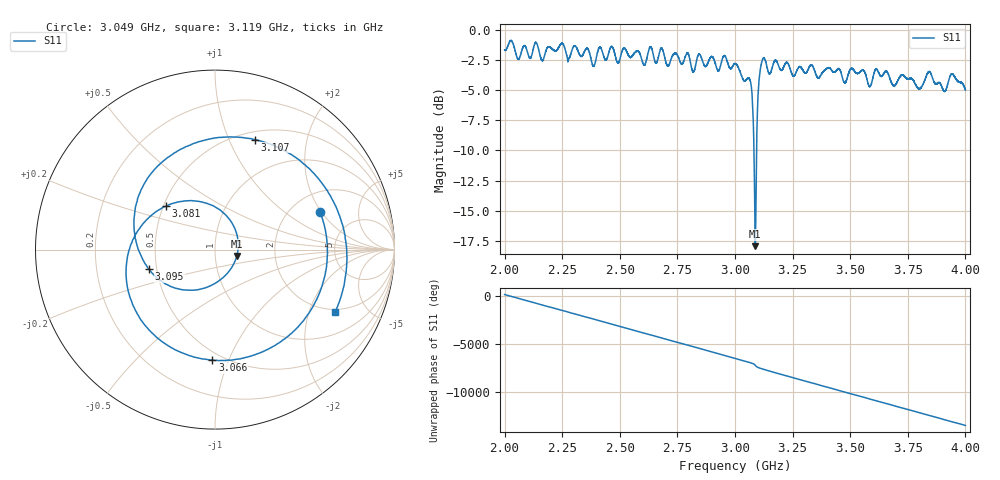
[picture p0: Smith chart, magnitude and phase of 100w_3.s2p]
!Agilent Technologies,E8362B,MY43021131,A.07.50.67
!Agilent E8362B: A.07.50.67
!Date: Thursday, March 14, 2024 13:55:11
!Correction: S11(Off)
!S21(Off)
!S12(Off)
!S22(Off)
!S2P File: Measurements: S11, S21, S12, S22:
# Hz S  RI  R 50
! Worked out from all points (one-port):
!   20001 points, 2 GHz to 4 GHz, reference 50 ohm
!   lowest |S11| = -17.9 dB at 3.088 GHz (marker M1), VSWR 1.29, Z = 63.7 - j4.5 ohm
!   |S11| at or under -10 dB: 3.082356 GHz to 3.09348 GHz (11.12 MHz wide, 0.36 % of centre)
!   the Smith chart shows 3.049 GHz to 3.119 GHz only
!   S11 on the Smith chart (normalised r, x): 3.049 GHz: 2.84, +1.94; 3.066 GHz: 0.44, -0.88; 3.081 GHz: 0.52, +0.29; 3.095 GHz: 0.45, -0.12; 3.107 GHz: 0.59, +1.25; 3.119 GHz: 1.87, -3.03
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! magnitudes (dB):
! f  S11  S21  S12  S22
! 2 GHz  -1.6  -  -  -
! 2.333 GHz  -2.2  -  -  -
! 2.667 GHz  -2.3  -  -  -
! 3 GHz  -2.8  -  -  -
! 3.049 GHz  -4.1  -  -  -
! 3.066 GHz  -4.2  -  -  -
! 3.074 GHz  -5.3  -  -  -
! 3.081 GHz  -8.8  -  -  -
! 3.088 GHz  -17.9  -  -  -
! 3.095 GHz  -8.3  -  -  -
! 3.107 GHz  -3.7  -  -  -
! 3.119 GHz  -2.4  -  -  -
! 3.333 GHz  -2.9  -  -  -
! 3.477 GHz  -4.4  -  -  -
! 3.555 GHz  -3.3  -  -  -
! 3.585 GHz  -4.7  -  -  -
! 3.667 GHz  -3.7  -  -  -
! 3.8 GHz  -4.9  -  -  -
! 3.844 GHz  -3.5  -  -  -
! 3.909 GHz  -5.1  -  -  -
! 3.943 GHz  -3.6  -  -  -
! 4 GHz  -5.0  -  -  -
